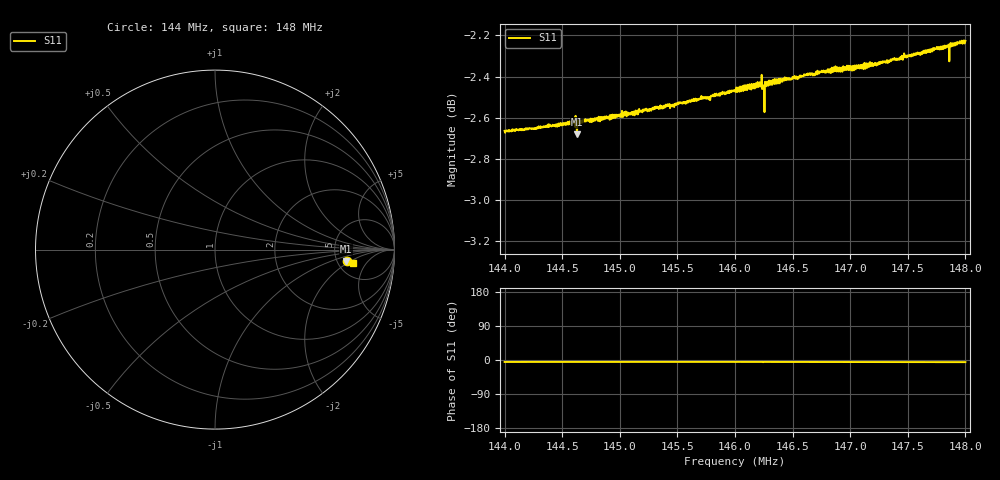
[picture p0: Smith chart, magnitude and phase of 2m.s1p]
! Calibrated averaged scanner-service zoom
# Hz S RI R 50
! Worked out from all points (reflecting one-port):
!   1001 points, 144 MHz to 148 MHz, reference 50 ohm
!   lowest |S11| = -2.7 dB at 144.63 MHz (marker M1), VSWR 6.53, Z = 303 - j84.1 ohm
!   phase of S11 starts at -5 deg and turns -0 deg over the sweep
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1.44e8  0.7329 -0.066
1.445e8  0.7362 -0.0643
1.44604e8  0.7361 -0.0659
1.44628e8  0.7316 -0.064
1.447e8  0.7379 -0.0645
1.45e8  0.7399 -0.0638
1.455e8  0.7447 -0.0644
1.45764e8  0.7468 -0.0649
1.46e8  0.7498 -0.0657
1.46204e8  0.7512 -0.067
1.46212e8  0.7532 -0.066
1.4622e8  0.752 -0.0667
1.46224e8  0.7514 -0.066
1.46232e8  0.7565 -0.0655
1.46236e8  0.7503 -0.0673
1.46256e8  0.7409 -0.0627
1.46276e8  0.7532 -0.0662
1.4628e8  0.7535 -0.0666
1.465e8  0.7554 -0.0679
1.46752e8  0.7579 -0.0695
1.47e8  0.7581 -0.0707
1.47132e8  0.7585 -0.0717
1.475e8  0.7642 -0.0722
1.47836e8  0.7681 -0.0747
1.47844e8  0.7677 -0.0745
1.4788e8  0.768 -0.0754
1.47884e8  0.769 -0.0753
1.48e8  0.7701 -0.0761
